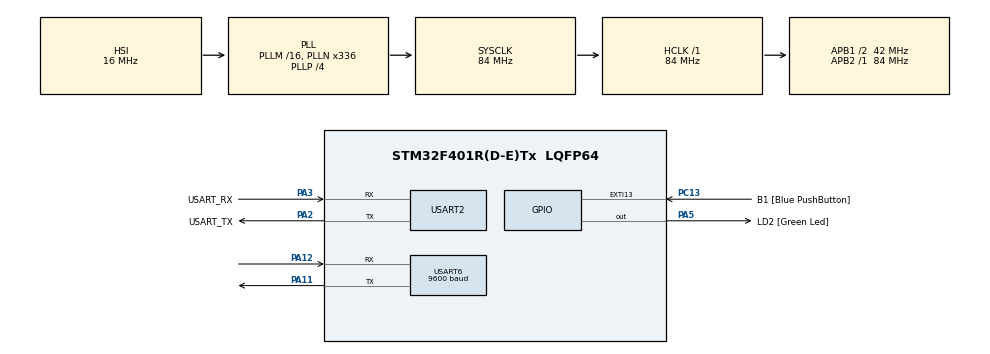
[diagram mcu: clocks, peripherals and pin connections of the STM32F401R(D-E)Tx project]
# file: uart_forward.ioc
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Mcu.Family=STM32F4
PC15-OSC32_OUT.Mode=LSE-External-Oscillator
PA2.GPIO_PuPd=GPIO_NOPULL
RCC.CortexFreq_Value=84000000
PC13-ANTI_TAMP.GPIO_PuPd=GPIO_NOPULL
PC13-ANTI_TAMP.GPIO_Label=B1 [Blue PushButton]
PA14.GPIO_Label=TCK
PA3.GPIO_PuPd=GPIO_NOPULL
PH1\ -\ OSC_OUT.Mode=HSE-External-Clock-Source
PA2.GPIO_Speed=GPIO_SPEED_FREQ_LOW
PA11.Mode=Asynchronous
RCC.APB1CLKDivider=RCC_HCLK_DIV2
PC14-OSC32_IN.Signal=RCC_OSC32_IN
PA3.GPIO_Speed=GPIO_SPEED_FREQ_LOW
RCC.SYSCLKSource=RCC_SYSCLKSOURCE_PLLCLK
ProjectManager.StackSize=0x400
PA13.Signal=SYS_JTMS-SWDIO
PA3.Mode=Asynchronous
PA12.Signal=USART6_RX
PH0\ -\ OSC_IN.Mode=HSE-External-Clock-Source
PH0\ -\ OSC_IN.Signal=RCC_OSC_IN
ProjectManager.TargetToolchain=STM32CubeIDE
PA3.GPIO_Mode=GPIO_MODE_AF_PP
RCC.HCLKFreq_Value=84000000
RCC.APB2TimFreq_Value=84000000
PC15-OSC32_OUT.Signal=RCC_OSC32_OUT
RCC.AHBFreq_Value=84000000
PA5.Signal=GPIO_Output
RCC.HSE_VALUE=8000000
PH1\ -\ OSC_OUT.Signal=RCC_OSC_OUT
board=NUCLEO-F401RE
PC13-ANTI_TAMP.Signal=GPXTI13
RCC.VCOOutputFreq_Value=336000000
RCC.APB2Freq_Value=84000000
PC14-OSC32_IN.Mode=LSE-External-Oscillator
PA14.Mode=Serial_Wire
PA5.GPIO_PuPd=GPIO_NOPULL
PA13.Mode=Serial_Wire
Mcu.Name=STM32F401R(D-E)Tx
PA2.Signal=USART2_TX
PA13.GPIO_Label=TMS
RCC.48MHZClocksFreq_Value=48000000
PB3.Signal=SYS_JTDO-SWO
RCC.SYSCLKFreq_VALUE=84000000
Mcu.Package=LQFP64
PA12.Mode=Asynchronous
PA5.GPIO_Label=LD2 [Green Led]
USART2.VirtualMode=VM_ASYNC
USART6.VirtualMode=VM_ASYNC
PC13-ANTI_TAMP.GPIO_ModeDefaultEXTI=GPIO_MODE_IT_FALLING
PA2.GPIO_Label=USART_TX
PA11.Signal=USART6_TX
PA14.Signal=SYS_JTCK-SWCLK
ProjectManager.HeapSize=0x200
USART6.BaudRate=9600
RCC.HSI_VALUE=16000000
RCC.PLLP=RCC_PLLP_DIV4
PA5.GPIO_Speed=GPIO_SPEED_FREQ_LOW
RCC.PLLQ=7
NVIC.PriorityGroup=NVIC_PRIORITYGROUP_0
RCC.PLLN=336
RCC.APB1TimFreq_Value=84000000
PA2.Mode=Asynchronous
RCC.APB1Freq_Value=42000000
PA5.GPIO_Mode=GPIO_MODE_OUTPUT_PP
PA3.GPIO_Label=USART_RX
PA3.Signal=USART2_RX
PA2.GPIO_Mode=GPIO_MODE_AF_PP
PB3.GPIO_Label=SWO

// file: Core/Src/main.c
/* USER CODE BEGIN Header */
/**
  ******************************************************************************
  * @file           : main.c
  * @brief          : Main program body
  ******************************************************************************
  * @attention
  *
  * <h2><center>&copy; Copyright (c) 2022 STMicroelectronics.
  * All rights reserved.</center></h2>
  *
  * This software component is licensed by ST under BSD 3-Clause license,
  * the "License"; You may not use this file except in compliance with the
  * License. You may obtain a copy of the License at:
  *                        opensource.org/licenses/BSD-3-Clause
  *
  ******************************************************************************
  */
/* USER CODE END Header */
#include "main.h"
#include <stdio.h>

UART_HandleTypeDef huart2;
UART_HandleTypeDef huart6;

void SystemClock_Config(void);
static void MX_GPIO_Init(void);
static void MX_USART2_UART_Init(void);
static void MX_USART6_UART_Init(void);

/* USER CODE BEGIN 0 */
#ifdef __GNUC__
#define PUTCHAR_PROTOTYPE int __io_putchar(int ch)
#else
#define PUTCHAR_PROTOTYPE int fputc(int ch, FILE *f)
#endif

PUTCHAR_PROTOTYPE
{
  HAL_UART_Transmit(&huart2, (uint8_t *)&ch, 1, HAL_MAX_DELAY);
  return ch;
}
/* USER CODE END 0 */

int main(void)
{

  /* MCU Configuration--------------------------------------------------------*/

  /* Reset of all peripherals, Initializes the Flash interface and the Systick. */
  HAL_Init();

  /* Configure the system clock */
  SystemClock_Config();

  /* Initialize all configured peripherals */
  MX_GPIO_Init();
  MX_USART2_UART_Init();
  MX_USART6_UART_Init();

  /* Infinite loop */
  /* USER CODE BEGIN WHILE */
  unsigned char data[100];
  int idx = 0;
  while (1)
  {
	// Read char over uart
	HAL_UART_Receive(&huart6, &data[idx++], 1, HAL_MAX_DELAY);
	if(data[idx - 1] == '\n') {
		data[idx] = '\0';
		printf("%s", data);
		idx = 0;
	}
    /* USER CODE END WHILE */

  }
}

void SystemClock_Config(void)
{
  RCC_OscInitTypeDef RCC_OscInitStruct = {0};
  RCC_ClkInitTypeDef RCC_ClkInitStruct = {0};

  /** Configure the main internal regulator output voltage
  */
  __HAL_RCC_PWR_CLK_ENABLE();
  __HAL_PWR_VOLTAGESCALING_CONFIG(PWR_REGULATOR_VOLTAGE_SCALE2);
  /** Initializes the RCC Oscillators according to the specified parameters
  * in the RCC_OscInitTypeDef structure.
  */
  RCC_OscInitStruct.OscillatorType = RCC_OSCILLATORTYPE_HSI;
  RCC_OscInitStruct.HSIState = RCC_HSI_ON;
  RCC_OscInitStruct.HSICalibrationValue = RCC_HSICALIBRATION_DEFAULT;
  RCC_OscInitStruct.PLL.PLLState = RCC_PLL_ON;
  RCC_OscInitStruct.PLL.PLLSource = RCC_PLLSOURCE_HSI;
  RCC_OscInitStruct.PLL.PLLM = 16;
  RCC_OscInitStruct.PLL.PLLN = 336;
  RCC_OscInitStruct.PLL.PLLP = RCC_PLLP_DIV4;
  RCC_OscInitStruct.PLL.PLLQ = 7;
  if (HAL_RCC_OscConfig(&RCC_OscInitStruct) != HAL_OK)
  {
    Error_Handler();
  }
  /** Initializes the CPU, AHB and APB buses clocks
  */
  RCC_ClkInitStruct.ClockType = RCC_CLOCKTYPE_HCLK|RCC_CLOCKTYPE_SYSCLK
                              |RCC_CLOCKTYPE_PCLK1|RCC_CLOCKTYPE_PCLK2;
  RCC_ClkInitStruct.SYSCLKSource = RCC_SYSCLKSOURCE_PLLCLK;
  RCC_ClkInitStruct.AHBCLKDivider = RCC_SYSCLK_DIV1;
  RCC_ClkInitStruct.APB1CLKDivider = RCC_HCLK_DIV2;
  RCC_ClkInitStruct.APB2CLKDivider = RCC_HCLK_DIV1;

  if (HAL_RCC_ClockConfig(&RCC_ClkInitStruct, FLASH_LATENCY_2) != HAL_OK)
  {
    Error_Handler();
  }
}

static void MX_USART2_UART_Init(void)
{

  huart2.Instance = USART2;
  huart2.Init.BaudRate = 115200;
  huart2.Init.WordLength = UART_WORDLENGTH_8B;
  huart2.Init.StopBits = UART_STOPBITS_1;
  huart2.Init.Parity = UART_PARITY_NONE;
  huart2.Init.Mode = UART_MODE_TX_RX;
  huart2.Init.HwFlowCtl = UART_HWCONTROL_NONE;
  huart2.Init.OverSampling = UART_OVERSAMPLING_16;
  if (HAL_UART_Init(&huart2) != HAL_OK)
  {
    Error_Handler();
  }

}

static void MX_USART6_UART_Init(void)
{

  huart6.Instance = USART6;
  huart6.Init.BaudRate = 9600;
  huart6.Init.WordLength = UART_WORDLENGTH_8B;
  huart6.Init.StopBits = UART_STOPBITS_1;
  huart6.Init.Parity = UART_PARITY_NONE;
  huart6.Init.Mode = UART_MODE_TX_RX;
  huart6.Init.HwFlowCtl = UART_HWCONTROL_NONE;
  huart6.Init.OverSampling = UART_OVERSAMPLING_16;
  if (HAL_UART_Init(&huart6) != HAL_OK)
  {
    Error_Handler();
  }

}

static void MX_GPIO_Init(void)
{
  GPIO_InitTypeDef GPIO_InitStruct = {0};

  /* GPIO Ports Clock Enable */
  __HAL_RCC_GPIOC_CLK_ENABLE();
  __HAL_RCC_GPIOH_CLK_ENABLE();
  __HAL_RCC_GPIOA_CLK_ENABLE();
  __HAL_RCC_GPIOB_CLK_ENABLE();

  /*Configure GPIO pin Output Level */
  HAL_GPIO_WritePin(LD2_GPIO_Port, LD2_Pin, GPIO_PIN_RESET);

  /*Configure GPIO pin : B1_Pin */
  GPIO_InitStruct.Pin = B1_Pin;
  GPIO_InitStruct.Mode = GPIO_MODE_IT_FALLING;
  GPIO_InitStruct.Pull = GPIO_NOPULL;
  HAL_GPIO_Init(B1_GPIO_Port, &GPIO_InitStruct);

  /*Configure GPIO pin : LD2_Pin */
  GPIO_InitStruct.Pin = LD2_Pin;
  GPIO_InitStruct.Mode = GPIO_MODE_OUTPUT_PP;
  GPIO_InitStruct.Pull = GPIO_NOPULL;
  GPIO_InitStruct.Speed = GPIO_SPEED_FREQ_LOW;
  HAL_GPIO_Init(LD2_GPIO_Port, &GPIO_InitStruct);

}

void Error_Handler(void)
{
  __disable_irq();
  while (1)
  {
  }
}

/************************ (C) COPYRIGHT STMicroelectronics *****END OF FILE****/
